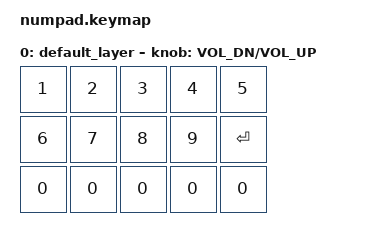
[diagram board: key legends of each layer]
#include <behaviors.dtsi>
#include <dt-bindings/zmk/keys.h>

/ {
    keymap {
        compatible = "zmk,keymap";

        default_layer {
            bindings = <
                &kp N1 &kp N2 &kp N3 &kp N4 &kp N5
                &kp N6 &kp N7 &kp N8 &kp N9 &kp RET
                &kp N0 &kp N0 &kp N0 &kp N0 &kp N0
            >;

            sensor-bindings = <&inc_dec_kp C_VOL_DN C_VOL_UP>;
        };
    };
};
